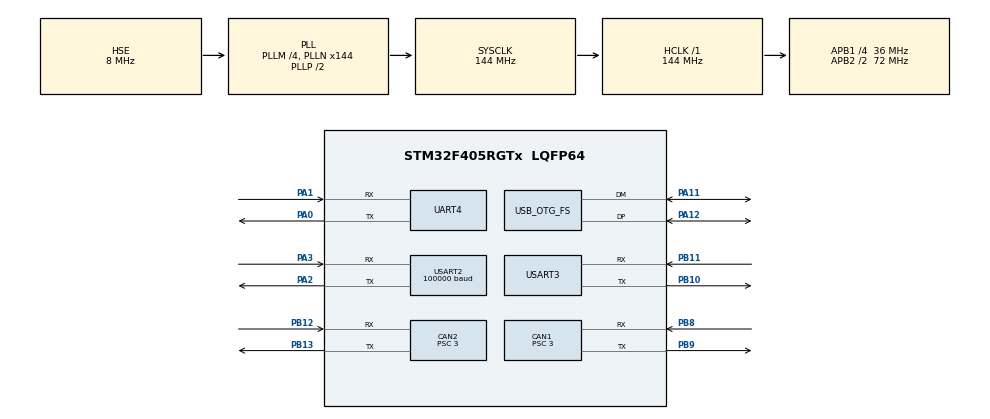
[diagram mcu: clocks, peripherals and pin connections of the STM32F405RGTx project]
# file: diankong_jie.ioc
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CAN1.ABOM=ENABLE
CAN1.BS1=CAN_BS1_8TQ
CAN1.BS2=CAN_BS2_3TQ
CAN1.CalculateBaudRate=999999
CAN1.CalculateTimeBit=1000
CAN1.CalculateTimeQuantum=83.33333333333334
CAN1.NART=ENABLE
CAN1.Prescaler=3
CAN2.ABOM=ENABLE
CAN2.BS1=CAN_BS1_8TQ
CAN2.BS2=CAN_BS2_3TQ
CAN2.CalculateBaudRate=999999
CAN2.CalculateTimeBit=1000
CAN2.CalculateTimeQuantum=83.33333333333334
CAN2.NART=ENABLE
CAN2.Prescaler=3
Dma.Request0=UART4_RX
Dma.Request1=UART4_TX
Dma.Request2=USART3_RX
Dma.Request3=USART3_TX
Dma.Request4=USART2_RX
Dma.UART4_RX.0.Direction=DMA_PERIPH_TO_MEMORY
Dma.UART4_RX.0.FIFOMode=DMA_FIFOMODE_DISABLE
Dma.UART4_RX.0.Instance=DMA1_Stream2
Dma.UART4_RX.0.MemDataAlignment=DMA_MDATAALIGN_BYTE
Dma.UART4_RX.0.MemInc=DMA_MINC_ENABLE
Dma.UART4_RX.0.Mode=DMA_CIRCULAR
Dma.UART4_RX.0.PeriphDataAlignment=DMA_PDATAALIGN_BYTE
Dma.UART4_RX.0.PeriphInc=DMA_PINC_DISABLE
Dma.UART4_RX.0.Priority=DMA_PRIORITY_LOW
Dma.UART4_TX.1.Direction=DMA_MEMORY_TO_PERIPH
Dma.UART4_TX.1.FIFOMode=DMA_FIFOMODE_DISABLE
Dma.UART4_TX.1.Instance=DMA1_Stream4
Dma.UART4_TX.1.MemDataAlignment=DMA_MDATAALIGN_BYTE
Dma.UART4_TX.1.MemInc=DMA_MINC_ENABLE
Dma.UART4_TX.1.Mode=DMA_NORMAL
Dma.UART4_TX.1.PeriphDataAlignment=DMA_PDATAALIGN_BYTE
Dma.UART4_TX.1.PeriphInc=DMA_PINC_DISABLE
Dma.UART4_TX.1.Priority=DMA_PRIORITY_LOW
Dma.USART2_RX.4.Direction=DMA_PERIPH_TO_MEMORY
Dma.USART2_RX.4.FIFOMode=DMA_FIFOMODE_DISABLE
Dma.USART2_RX.4.Instance=DMA1_Stream5
Dma.USART2_RX.4.MemDataAlignment=DMA_MDATAALIGN_BYTE
Dma.USART2_RX.4.MemInc=DMA_MINC_ENABLE
Dma.USART2_RX.4.Mode=DMA_CIRCULAR
Dma.USART2_RX.4.PeriphDataAlignment=DMA_PDATAALIGN_BYTE
Dma.USART2_RX.4.PeriphInc=DMA_PINC_DISABLE
Dma.USART2_RX.4.Priority=DMA_PRIORITY_LOW
Dma.USART3_RX.2.Direction=DMA_PERIPH_TO_MEMORY
Dma.USART3_RX.2.FIFOMode=DMA_FIFOMODE_DISABLE
Dma.USART3_RX.2.Instance=DMA1_Stream1
Dma.USART3_RX.2.MemDataAlignment=DMA_MDATAALIGN_BYTE
Dma.USART3_RX.2.MemInc=DMA_MINC_ENABLE
Dma.USART3_RX.2.Mode=DMA_NORMAL
Dma.USART3_RX.2.PeriphDataAlignment=DMA_PDATAALIGN_BYTE
Dma.USART3_RX.2.PeriphInc=DMA_PINC_DISABLE
Dma.USART3_RX.2.Priority=DMA_PRIORITY_LOW
Dma.USART3_TX.3.Direction=DMA_MEMORY_TO_PERIPH
Dma.USART3_TX.3.FIFOMode=DMA_FIFOMODE_DISABLE
Dma.USART3_TX.3.Instance=DMA1_Stream3
Dma.USART3_TX.3.MemDataAlignment=DMA_MDATAALIGN_BYTE
Dma.USART3_TX.3.MemInc=DMA_MINC_ENABLE
Dma.USART3_TX.3.Mode=DMA_NORMAL
Dma.USART3_TX.3.PeriphDataAlignment=DMA_PDATAALIGN_BYTE
Dma.USART3_TX.3.PeriphInc=DMA_PINC_DISABLE
Dma.USART3_TX.3.Priority=DMA_PRIORITY_LOW
FREERTOS.Tasks01=defaultTask,24,128,StartDefaultTask,Default,NULL,Dynamic,NULL,NULL;dr16,8,128,dr16_task,As weak,NULL,Dynamic,NULL,NULL;vt13,8,128,vt13_task,As weak,NULL,Dynamic,NULL,NULL;vofa,8,256,vofa_task,As weak,NULL,Dynamic,NULL,NULL;imu,8,128,imu_task,As weak,NULL,Dynamic,NULL,NULL;lx824,8,128,lx824_task,As weak,NULL,Dynamic,NULL,NULL
FREERTOS.configENABLE_FPU=1
FREERTOS.configGENERATE_RUN_TIME_STATS=1
FREERTOS.configRECORD_STACK_HIGH_ADDRESS=1
Mcu.Family=STM32F4
Mcu.Name=STM32F405RGTx
Mcu.Package=LQFP64
NVIC.CAN1_RX0_IRQn=true\:5\:0\:false\:false\:true\:true\:true\:true\:true
NVIC.CAN1_RX1_IRQn=true\:5\:0\:false\:false\:true\:true\:true\:true\:true
NVIC.CAN1_TX_IRQn=true\:5\:0\:false\:false\:true\:true\:true\:true\:true
NVIC.CAN2_RX0_IRQn=true\:5\:0\:false\:false\:true\:true\:true\:true\:true
NVIC.CAN2_RX1_IRQn=true\:5\:0\:false\:false\:true\:true\:true\:true\:true
NVIC.CAN2_TX_IRQn=true\:5\:0\:false\:false\:true\:true\:true\:true\:true
NVIC.DMA1_Stream1_IRQn=true\:5\:0\:false\:false\:true\:true\:false\:true\:true
NVIC.DMA1_Stream2_IRQn=true\:5\:0\:false\:false\:true\:true\:false\:true\:true
NVIC.DMA1_Stream3_IRQn=true\:5\:0\:false\:false\:true\:true\:false\:true\:true
NVIC.DMA1_Stream4_IRQn=true\:5\:0\:false\:false\:true\:true\:false\:true\:true
NVIC.DMA1_Stream5_IRQn=true\:5\:0\:false\:false\:true\:true\:false\:true\:true
NVIC.OTG_FS_IRQn=true\:5\:0\:false\:false\:true\:true\:false\:true\:true
NVIC.PriorityGroup=NVIC_PRIORITYGROUP_4
NVIC.TIM7_IRQn=true\:15\:0\:false\:false\:true\:false\:false\:true\:true
NVIC.TimeBase=TIM7_IRQn
NVIC.TimeBaseIP=TIM7
NVIC.UART4_IRQn=true\:5\:0\:false\:false\:true\:true\:false\:true\:true
NVIC.USART2_IRQn=true\:5\:0\:false\:false\:true\:true\:true\:true\:true
NVIC.USART3_IRQn=true\:5\:0\:false\:false\:true\:true\:true\:true\:true
PA0-WKUP.Mode=Asynchronous
PA0-WKUP.Signal=UART4_TX
PA1.Mode=Asynchronous
PA1.Signal=UART4_RX
PA11.Mode=Device_Only
PA11.Signal=USB_OTG_FS_DM
PA12.Mode=Device_Only
PA12.Signal=USB_OTG_FS_DP
PA13.Mode=Serial_Wire
PA13.Signal=SYS_JTMS-SWDIO
PA14.Mode=Serial_Wire
PA14.Signal=SYS_JTCK-SWCLK
PA2.Mode=Asynchronous
PA2.Signal=USART2_TX
PA3.Mode=Asynchronous
PA3.Signal=USART2_RX
PB10.Mode=Asynchronous
PB10.Signal=USART3_TX
PB11.Mode=Asynchronous
PB11.Signal=USART3_RX
PB12.Mode=CAN_Activate
PB12.Signal=CAN2_RX
PB13.Mode=CAN_Activate
PB13.Signal=CAN2_TX
PB8.Mode=CAN_Activate
PB8.Signal=CAN1_RX
PB9.Mode=CAN_Activate
PB9.Signal=CAN1_TX
PH0-OSC_IN.Mode=HSE-External-Oscillator
PH0-OSC_IN.Signal=RCC_OSC_IN
PH1-OSC_OUT.Mode=HSE-External-Oscillator
PH1-OSC_OUT.Signal=RCC_OSC_OUT
ProjectManager.HeapSize=0x200
ProjectManager.StackSize=0x400
ProjectManager.TargetToolchain=CMake
RCC.48MHZClocksFreq_Value=48000000
RCC.AHBFreq_Value=144000000
RCC.APB1CLKDivider=RCC_HCLK_DIV4
RCC.APB1Freq_Value=36000000
RCC.APB1TimFreq_Value=72000000
RCC.APB2CLKDivider=RCC_HCLK_DIV2
RCC.APB2Freq_Value=72000000
RCC.APB2TimFreq_Value=144000000
RCC.CortexFreq_Value=144000000
RCC.HCLKFreq_Value=144000000
RCC.HSE_VALUE=8000000
RCC.HSI_VALUE=16000000
RCC.LSE_VALUE=32768
RCC.PLLM=4
RCC.PLLN=144
RCC.PLLQ=6
RCC.SYSCLKFreq_VALUE=144000000
RCC.SYSCLKSource=RCC_SYSCLKSOURCE_PLLCLK
RCC.VCOOutputFreq_Value=288000000
UART4.VirtualMode=Asynchronous
USART2.BaudRate=100000
USART2.Mode=MODE_RX
USART2.Parity=PARITY_EVEN
USART2.VirtualMode=VM_ASYNC
USART2.WordLength=WORDLENGTH_9B
USART3.VirtualMode=VM_ASYNC
USB_DEVICE.CLASS_NAME_FS=CDC
USB_DEVICE.VirtualMode-CDC_FS=Cdc
USB_DEVICE.VirtualModeFS=Cdc_FS
USB_OTG_FS.VirtualMode=Device_Only
VP_FREERTOS_VS_CMSIS_V2.Mode=CMSIS_V2
VP_SYS_VS_tim7.Mode=TIM7
VP_USB_DEVICE_VS_USB_DEVICE_CDC_FS.Mode=CDC_FS
board=custom

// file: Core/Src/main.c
/* USER CODE BEGIN Header */
/**
  ******************************************************************************
  * @file           : main.c
  * @brief          : Main program body
  ******************************************************************************
  * @attention
  *
  * Copyright (c) 2026 STMicroelectronics.
  * All rights reserved.
  *
  * This software is licensed under terms that can be found in the LICENSE file
  * in the root directory of this software component.
  * If no LICENSE file comes with this software, it is provided AS-IS.
  *
  ******************************************************************************
  */
/* USER CODE END Header */
#include "main.h"
#include "cmsis_os.h"
#include "can.h"
#include "dma.h"
#include "usart.h"
#include "usb_device.h"
#include "gpio.h"

/* USER CODE BEGIN Includes */
#include "bsp_dwt.h"

/* USER CODE END Includes */

void SystemClock_Config(void);
void MX_FREERTOS_Init(void);

int main(void)
{

  /* MCU Configuration--------------------------------------------------------*/

  /* Reset of all peripherals, Initializes the Flash interface and the Systick. */
  HAL_Init();

  /* Configure the system clock */
  SystemClock_Config();

  /* USER CODE BEGIN SysInit */
  DWT_Init(SystemCoreClock / 1000000U);

  /* USER CODE END SysInit */

  /* Initialize all configured peripherals */
  MX_GPIO_Init();
  MX_DMA_Init();
  MX_CAN1_Init();
  MX_CAN2_Init();
  MX_UART4_Init();
  MX_USART3_UART_Init();
  MX_USART2_UART_Init();

  /* Init scheduler */
  osKernelInitialize();  /* Call init function for freertos objects (in cmsis_os2.c) */
  MX_FREERTOS_Init();

  /* Start scheduler */
  osKernelStart();

  /* We should never get here as control is now taken by the scheduler */

  /* Infinite loop */
  while (1)
  {

  }
}

void SystemClock_Config(void)
{
  RCC_OscInitTypeDef RCC_OscInitStruct = {0};
  RCC_ClkInitTypeDef RCC_ClkInitStruct = {0};

  /** Configure the main internal regulator output voltage
  */
  __HAL_RCC_PWR_CLK_ENABLE();
  __HAL_PWR_VOLTAGESCALING_CONFIG(PWR_REGULATOR_VOLTAGE_SCALE1);

  /** Initializes the RCC Oscillators according to the specified parameters
  * in the RCC_OscInitTypeDef structure.
  */
  RCC_OscInitStruct.OscillatorType = RCC_OSCILLATORTYPE_HSE;
  RCC_OscInitStruct.HSEState = RCC_HSE_ON;
  RCC_OscInitStruct.PLL.PLLState = RCC_PLL_ON;
  RCC_OscInitStruct.PLL.PLLSource = RCC_PLLSOURCE_HSE;
  RCC_OscInitStruct.PLL.PLLM = 4;
  RCC_OscInitStruct.PLL.PLLN = 144;
  RCC_OscInitStruct.PLL.PLLP = RCC_PLLP_DIV2;
  RCC_OscInitStruct.PLL.PLLQ = 6;
  if (HAL_RCC_OscConfig(&RCC_OscInitStruct) != HAL_OK)
  {
    Error_Handler();
  }

  /** Initializes the CPU, AHB and APB buses clocks
  */
  RCC_ClkInitStruct.ClockType = RCC_CLOCKTYPE_HCLK|RCC_CLOCKTYPE_SYSCLK
                              |RCC_CLOCKTYPE_PCLK1|RCC_CLOCKTYPE_PCLK2;
  RCC_ClkInitStruct.SYSCLKSource = RCC_SYSCLKSOURCE_PLLCLK;
  RCC_ClkInitStruct.AHBCLKDivider = RCC_SYSCLK_DIV1;
  RCC_ClkInitStruct.APB1CLKDivider = RCC_HCLK_DIV4;
  RCC_ClkInitStruct.APB2CLKDivider = RCC_HCLK_DIV2;

  if (HAL_RCC_ClockConfig(&RCC_ClkInitStruct, FLASH_LATENCY_4) != HAL_OK)
  {
    Error_Handler();
  }
}

void HAL_TIM_PeriodElapsedCallback(TIM_HandleTypeDef *htim)
{
  if (htim->Instance == TIM7)
  {
    HAL_IncTick();
  }
}

void Error_Handler(void)
{
  __disable_irq();
  while (1)
  {
  }
}

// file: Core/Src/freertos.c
/* USER CODE BEGIN Header */
/**
  ******************************************************************************
  * File Name          : freertos.c
  * Description        : Code for freertos applications
  ******************************************************************************
  * @attention
  *
  * Copyright (c) 2026 STMicroelectronics.
  * All rights reserved.
  *
  * This software is licensed under terms that can be found in the LICENSE file
  * in the root directory of this software component.
  * If no LICENSE file comes with this software, it is provided AS-IS.
  *
  ******************************************************************************
  */
/* USER CODE END Header */

#include "FreeRTOS.h"
#include "task.h"
#include "main.h"
#include "cmsis_os.h"

/* USER CODE BEGIN Includes */
#include "chassis_task.h"
#include "game_task.h"
#include "vofa_usb_task.h"

/* USER CODE END Includes */

/* USER CODE BEGIN Variables */
osThreadId_t chassisHandle;
const osThreadAttr_t chassis_attributes = {
  .name = "chassis",
  .stack_size = 256 * 4,
  .priority = (osPriority_t) osPriorityNormal,
};
osThreadId_t gameHandle;
const osThreadAttr_t game_attributes = {
  .name = "game",
  .stack_size = 256 * 4,
  .priority = (osPriority_t) osPriorityLow,
};
osThreadId_t vofaUsbHandle;
const osThreadAttr_t vofa_usb_attributes = {
  .name = "vofa_usb",
  .stack_size = 256 * 4,
  .priority = (osPriority_t) osPriorityLow,
};

/* USER CODE END Variables */
/* Definitions for defaultTask */
osThreadId_t defaultTaskHandle;
const osThreadAttr_t defaultTask_attributes = {
  .name = "defaultTask",
  .stack_size = 128 * 4,
  .priority = (osPriority_t) osPriorityNormal,
};
/* Definitions for dr16 */
osThreadId_t dr16Handle;
const osThreadAttr_t dr16_attributes = {
  .name = "dr16",
  .stack_size = 128 * 4,
  .priority = (osPriority_t) osPriorityLow,
};
/* Definitions for vt13 */
osThreadId_t vt13Handle;
const osThreadAttr_t vt13_attributes = {
  .name = "vt13",
  .stack_size = 128 * 4,
  .priority = (osPriority_t) osPriorityLow,
};
/* Definitions for vofa */
osThreadId_t vofaHandle;
const osThreadAttr_t vofa_attributes = {
  .name = "vofa",
  .stack_size = 256 * 4,
  .priority = (osPriority_t) osPriorityLow,
};
/* Definitions for imu */
osThreadId_t imuHandle;
const osThreadAttr_t imu_attributes = {
  .name = "imu",
  .stack_size = 128 * 4,
  .priority = (osPriority_t) osPriorityLow,
};
/* Definitions for lx824 */
osThreadId_t lx824Handle;
const osThreadAttr_t lx824_attributes = {
  .name = "lx824",
  .stack_size = 128 * 4,
  .priority = (osPriority_t) osPriorityLow,
};

void StartDefaultTask(void *argument);
void dr16_task(void *argument);
void vt13_task(void *argument);
void vofa_task(void *argument);
void imu_task(void *argument);
void lx824_task(void *argument);

extern void MX_USB_DEVICE_Init(void);
void MX_FREERTOS_Init(void); /* (MISRA C 2004 rule 8.1) */

/* Hook prototypes */
void configureTimerForRunTimeStats(void);
unsigned long getRunTimeCounterValue(void);

/* USER CODE BEGIN 1 */
/* Functions needed when configGENERATE_RUN_TIME_STATS is on */
__weak void configureTimerForRunTimeStats(void)
{

}

__weak unsigned long getRunTimeCounterValue(void)
{
return 0;
}
/* USER CODE END 1 */

void MX_FREERTOS_Init(void) {

  /* Create the thread(s) */
  /* creation of defaultTask */
  defaultTaskHandle = osThreadNew(StartDefaultTask, NULL, &defaultTask_attributes);

  /* creation of dr16 */
  dr16Handle = osThreadNew(dr16_task, NULL, &dr16_attributes);

  /* creation of vt13 */
  vt13Handle = osThreadNew(vt13_task, NULL, &vt13_attributes);

  /* creation of vofa */
  vofaHandle = osThreadNew(vofa_task, NULL, &vofa_attributes);

  /* creation of imu */
  imuHandle = osThreadNew(imu_task, NULL, &imu_attributes);

  /* creation of lx824 */
  lx824Handle = osThreadNew(lx824_task, NULL, &lx824_attributes);

  /* USER CODE BEGIN RTOS_THREADS */
  /* add threads, ... */
  chassisHandle = osThreadNew(start_chassis_task, NULL, &chassis_attributes);
  gameHandle = osThreadNew(game_task, NULL, &game_attributes);
  vofaUsbHandle = osThreadNew(vofa_usb_task, NULL, &vofa_usb_attributes);
  /* USER CODE END RTOS_THREADS */

}

void StartDefaultTask(void *argument)
{
  /* init code for USB_DEVICE */
  MX_USB_DEVICE_Init();
  for(;;)
  {
    osDelay(1);
  }
}

__weak void dr16_task(void *argument)
{
  for(;;)
  {
    osDelay(1);
  }
}

__weak void vt13_task(void *argument)
{
  for(;;)
  {
    osDelay(1);
  }
}

__weak void vofa_task(void *argument)
{
  for(;;)
  {
    osDelay(1);
  }
}

__weak void imu_task(void *argument)
{
  for(;;)
  {
    osDelay(1);
  }
}

__weak void lx824_task(void *argument)
{
  for(;;)
  {
    osDelay(1);
  }
}
